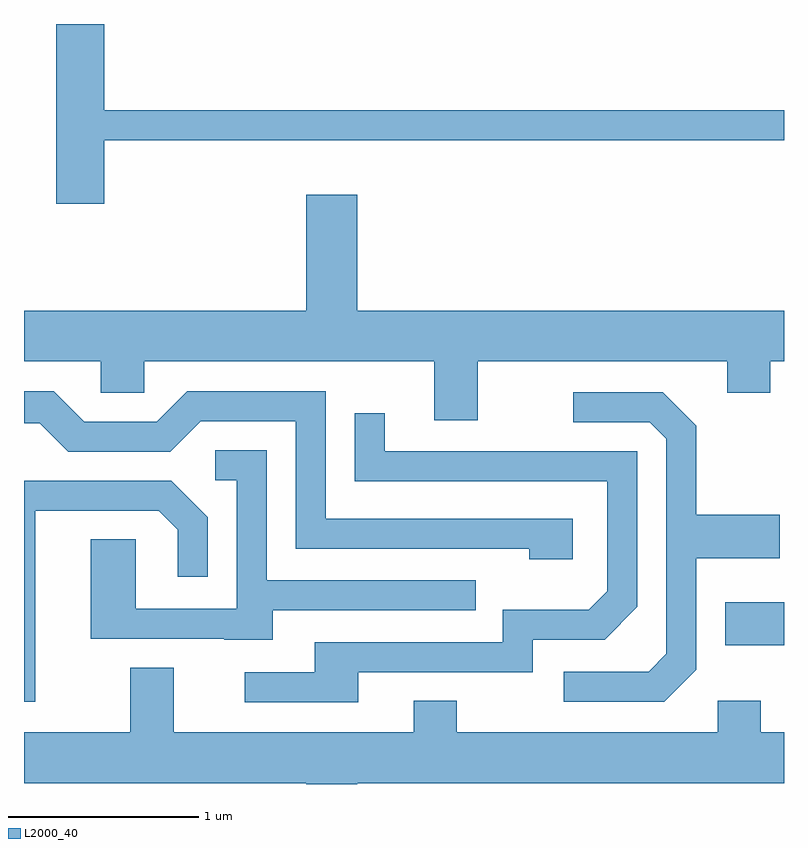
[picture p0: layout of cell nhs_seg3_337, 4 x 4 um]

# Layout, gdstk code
import gdstk
lib = gdstk.Library(unit=1e-6, precision=1e-09)
def R(c, l, rs):  # rectangles x0, y0, x1, y1
    for r in rs: c.add(gdstk.rectangle(r[:2], r[2:], *l))
def P(c, l, *ps):  # polygons
    for p in ps: c.add(gdstk.Polygon(p, *l))
L2000_40 = (2000, 40)

nhs_seg3_337 = lib.new_cell('nhs_seg3_337')
R(nhs_seg3_337, L2000_40, [(197.301,1246.621,197.611,1246.849)])
P(nhs_seg3_337, L2000_40, [(194.034,1249.281),(197.611,1249.281),(197.611,1249.439),(194.034,1249.439),(194.034,1249.892),(193.781,1249.892),(193.781,1248.946),(194.034,1248.946)],
  [(195.999,1248.116),(197.311,1248.116),(197.311,1247.951),(197.539,1247.951),(197.539,1248.116),(197.611,1248.116),(197.611,1248.384),(195.364,1248.384),(195.364,1248.994),(195.096,1248.994),(195.096,1248.384),(193.611,1248.384),(193.611,1248.116),(194.016,1248.116),(194.016,1247.951),(194.244,1247.951),(194.244,1248.116),(195.771,1248.116),(195.771,1247.806),(195.999,1247.806)],
  [(196.499,1247.289),(195.199,1247.289),(195.199,1247.959),(194.469,1247.959),(194.309,1247.799),(193.927,1247.799),(193.767,1247.959),(193.611,1247.959),(193.611,1247.791),(193.694,1247.791),(193.844,1247.641),(194.382,1247.641),(194.542,1247.801),(195.041,1247.801),(195.041,1247.131),(196.271,1247.131),(196.271,1247.076),(196.499,1247.076)],
  [(197.149,1246.494),(197.149,1247.081),(197.589,1247.081),(197.589,1247.309),(197.149,1247.309),(197.149,1247.777),(196.972,1247.954),(196.503,1247.954),(196.503,1247.796),(196.904,1247.796),(196.991,1247.709),(196.991,1246.577),(196.899,1246.484),(196.453,1246.484),(196.453,1246.326),(196.982,1246.326)],
  [(195.369,1246.481),(196.289,1246.481),(196.289,1246.651),(196.667,1246.651),(196.839,1246.824),(196.839,1247.644),(195.509,1247.644),(195.509,1247.843),(195.351,1247.843),(195.351,1247.486),(196.681,1247.486),(196.681,1246.907),(196.584,1246.809),(196.131,1246.809),(196.131,1246.639),(195.141,1246.639),(195.141,1246.479),(194.773,1246.479),(194.773,1246.321),(195.369,1246.321)],
  [(194.919,1246.806),(195.988,1246.806),(195.988,1246.964),(194.889,1246.964),(194.889,1247.649),(194.618,1247.649),(194.618,1247.491),(194.731,1247.491),(194.731,1246.814),(194.199,1246.814),(194.199,1247.179),(193.961,1247.179),(193.961,1246.656),(194.665,1246.656),(194.665,1246.651),(194.919,1246.651)],
  [(193.669,1247.331),(194.319,1247.331),(194.421,1247.229),(194.421,1246.983),(194.579,1246.983),(194.579,1247.297),(194.387,1247.489),(193.611,1247.489),(193.611,1246.326),(193.669,1246.326)],
  [(195.364,1245.896),(197.611,1245.896),(197.611,1246.164),(197.489,1246.164),(197.489,1246.329),(197.261,1246.329),(197.261,1246.164),(195.889,1246.164),(195.889,1246.329),(195.661,1246.329),(195.661,1246.164),(194.399,1246.164),(194.399,1246.504),(194.171,1246.504),(194.171,1246.164),(193.611,1246.164),(193.611,1245.896),(195.096,1245.896),(195.096,1245.892),(195.364,1245.892)])

lib.write_gds('nhs_seg3_337.gds')
